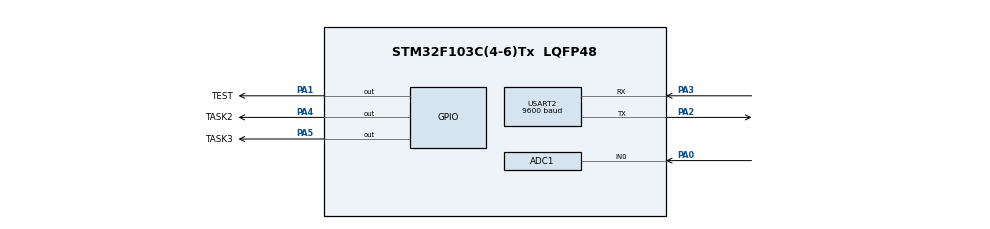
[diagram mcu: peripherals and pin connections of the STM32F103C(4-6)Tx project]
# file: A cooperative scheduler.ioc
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ADC1.Channel-0\#ChannelRegularConversion=ADC_CHANNEL_0
ADC1.ContinuousConvMode=ENABLE
ADC1.NbrOfConversionFlag=1
ADC1.Rank-0\#ChannelRegularConversion=1
ADC1.SamplingTime-0\#ChannelRegularConversion=ADC_SAMPLETIME_1CYCLE_5
ADC1.master=1
Mcu.Family=STM32F1
Mcu.Name=STM32F103C(4-6)Tx
Mcu.Package=LQFP48
NVIC.PriorityGroup=NVIC_PRIORITYGROUP_4
NVIC.TIM2_IRQn=true\:0\:0\:false\:false\:true\:true\:true
NVIC.USART2_IRQn=true\:0\:0\:false\:false\:true\:true\:true
PA0-WKUP.Signal=ADCx_IN0
PA1.GPIO_Label=TEST
PA1.Signal=GPIO_Output
PA2.Mode=Asynchronous
PA2.Signal=USART2_TX
PA3.Mode=Asynchronous
PA3.Signal=USART2_RX
PA4.GPIO_Label=TASK2
PA4.Signal=GPIO_Output
PA5.GPIO_Label=TASK3
PA5.Signal=GPIO_Output
ProjectManager.HeapSize=0x200
ProjectManager.StackSize=0x400
ProjectManager.TargetToolchain=STM32CubeIDE
RCC.APB1Freq_Value=8000000
RCC.APB2Freq_Value=8000000
SH.ADCx_IN0.0=ADC1_IN0,IN0
TIM2.Period=9
TIM2.Prescaler=7999
USART2.BaudRate=9600
USART2.VirtualMode=VM_ASYNC
VP_SYS_VS_ND.Mode=No_Debug
VP_TIM2_VS_ClockSourceINT.Mode=Internal
board=custom

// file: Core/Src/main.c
/* USER CODE BEGIN Header */
/**
  ******************************************************************************
  * @file           : main.c
  * @brief          : Main program body
  ******************************************************************************
  * @attention
  *
  * <h2><center>&copy; Copyright (c) 2023 STMicroelectronics.
  * All rights reserved.</center></h2>
  *
  * This software component is licensed by ST under BSD 3-Clause license,
  * the "License"; You may not use this file except in compliance with the
  * License. You may obtain a copy of the License at:
  *                        opensource.org/licenses/BSD-3-Clause
  *
  ******************************************************************************
  */
/* USER CODE END Header */
#include "main.h"

/* USER CODE BEGIN Includes */
#include "scheduler.h"
#include "task.h"
#include "fsm.h"
#include "software_timer.h"
/* USER CODE END Includes */

ADC_HandleTypeDef hadc1;

TIM_HandleTypeDef htim2;

UART_HandleTypeDef huart2;

void SystemClock_Config(void);
static void MX_TIM2_Init(void);
static void MX_GPIO_Init(void);
static void MX_ADC1_Init(void);
static void MX_USART2_UART_Init(void);

/* USER CODE BEGIN 0 */
uint32_t ADC_value = 0;
char str[32]; // Ensure you have a buffer large enough for the string representation of the ADC value
uint8_t temp = 0;
uint8_t buffer[MAX_BUFFER_SIZE];
uint8_t index_buffer = 0;
uint8_t buffer_flag = 0;
void HAL_UART_RxCpltCallback(UART_HandleTypeDef *huart){
    if(huart->Instance == USART2){
    	global_transmit(huart);
    }
}
/* USER CODE END 0 */

int main(void)
{

  /* MCU Configuration--------------------------------------------------------*/

  /* Reset of all peripherals, Initializes the Flash interface and the Systick. */
  HAL_Init();

  /* Configure the system clock */
  SystemClock_Config();

  /* USER CODE BEGIN SysInit */
  SCH_Init();
  /* USER CODE END SysInit */

  /* Initialize all configured peripherals */
  MX_TIM2_Init();
  MX_GPIO_Init();
  MX_ADC1_Init();
  MX_USART2_UART_Init();
  /* USER CODE BEGIN 2 */
  HAL_TIM_Base_Start_IT(&htim2);
  set_TIMER_CYCLE();
  setTimer(1, 100);
  HAL_UART_Receive_IT(&huart2, &temp, 1);

  /* USER CODE END 2 */

  /* Infinite loop */
  /* USER CODE BEGIN WHILE */
  SCH_Add_Task(task1, 0, 50);
  SCH_Add_Task(task2, 25, 50);
  SCH_Add_Task(task3, 50, 50);
  SCH_Add_Task(task4, 0, 300);
  SCH_Add_Task(task5, 0, 10);
  while (1)
  {
    /* USER CODE END WHILE */

    /* USER CODE BEGIN 3 */

	  SCH_Dispatch_Tasks();

  }
  /* USER CODE END 3 */
}

void SystemClock_Config(void)
{
  RCC_OscInitTypeDef RCC_OscInitStruct = {0};
  RCC_ClkInitTypeDef RCC_ClkInitStruct = {0};
  RCC_PeriphCLKInitTypeDef PeriphClkInit = {0};

  /** Initializes the RCC Oscillators according to the specified parameters
  * in the RCC_OscInitTypeDef structure.
  */
  RCC_OscInitStruct.OscillatorType = RCC_OSCILLATORTYPE_HSI;
  RCC_OscInitStruct.HSIState = RCC_HSI_ON;
  RCC_OscInitStruct.HSICalibrationValue = RCC_HSICALIBRATION_DEFAULT;
  RCC_OscInitStruct.PLL.PLLState = RCC_PLL_NONE;
  if (HAL_RCC_OscConfig(&RCC_OscInitStruct) != HAL_OK)
  {
    Error_Handler();
  }
  /** Initializes the CPU, AHB and APB buses clocks
  */
  RCC_ClkInitStruct.ClockType = RCC_CLOCKTYPE_HCLK|RCC_CLOCKTYPE_SYSCLK
                              |RCC_CLOCKTYPE_PCLK1|RCC_CLOCKTYPE_PCLK2;
  RCC_ClkInitStruct.SYSCLKSource = RCC_SYSCLKSOURCE_HSI;
  RCC_ClkInitStruct.AHBCLKDivider = RCC_SYSCLK_DIV1;
  RCC_ClkInitStruct.APB1CLKDivider = RCC_HCLK_DIV1;
  RCC_ClkInitStruct.APB2CLKDivider = RCC_HCLK_DIV1;

  if (HAL_RCC_ClockConfig(&RCC_ClkInitStruct, FLASH_LATENCY_0) != HAL_OK)
  {
    Error_Handler();
  }
  PeriphClkInit.PeriphClockSelection = RCC_PERIPHCLK_ADC;
  PeriphClkInit.AdcClockSelection = RCC_ADCPCLK2_DIV2;
  if (HAL_RCCEx_PeriphCLKConfig(&PeriphClkInit) != HAL_OK)
  {
    Error_Handler();
  }
}

static void MX_ADC1_Init(void)
{

  ADC_ChannelConfTypeDef sConfig = {0};

  /** Common config
  */
  hadc1.Instance = ADC1;
  hadc1.Init.ScanConvMode = ADC_SCAN_DISABLE;
  hadc1.Init.ContinuousConvMode = ENABLE;
  hadc1.Init.DiscontinuousConvMode = DISABLE;
  hadc1.Init.ExternalTrigConv = ADC_SOFTWARE_START;
  hadc1.Init.DataAlign = ADC_DATAALIGN_RIGHT;
  hadc1.Init.NbrOfConversion = 1;
  if (HAL_ADC_Init(&hadc1) != HAL_OK)
  {
    Error_Handler();
  }
  /** Configure Regular Channel
  */
  sConfig.Channel = ADC_CHANNEL_0;
  sConfig.Rank = ADC_REGULAR_RANK_1;
  sConfig.SamplingTime = ADC_SAMPLETIME_1CYCLE_5;
  if (HAL_ADC_ConfigChannel(&hadc1, &sConfig) != HAL_OK)
  {
    Error_Handler();
  }

}

static void MX_TIM2_Init(void)
{

  TIM_ClockConfigTypeDef sClockSourceConfig = {0};
  TIM_MasterConfigTypeDef sMasterConfig = {0};

  htim2.Instance = TIM2;
  htim2.Init.Prescaler = 7999;
  htim2.Init.CounterMode = TIM_COUNTERMODE_UP;
  htim2.Init.Period = 9;
  htim2.Init.ClockDivision = TIM_CLOCKDIVISION_DIV1;
  htim2.Init.AutoReloadPreload = TIM_AUTORELOAD_PRELOAD_DISABLE;
  if (HAL_TIM_Base_Init(&htim2) != HAL_OK)
  {
    Error_Handler();
  }
  sClockSourceConfig.ClockSource = TIM_CLOCKSOURCE_INTERNAL;
  if (HAL_TIM_ConfigClockSource(&htim2, &sClockSourceConfig) != HAL_OK)
  {
    Error_Handler();
  }
  sMasterConfig.MasterOutputTrigger = TIM_TRGO_RESET;
  sMasterConfig.MasterSlaveMode = TIM_MASTERSLAVEMODE_DISABLE;
  if (HAL_TIMEx_MasterConfigSynchronization(&htim2, &sMasterConfig) != HAL_OK)
  {
    Error_Handler();
  }

}

static void MX_USART2_UART_Init(void)
{

  huart2.Instance = USART2;
  huart2.Init.BaudRate = 9600;
  huart2.Init.WordLength = UART_WORDLENGTH_8B;
  huart2.Init.StopBits = UART_STOPBITS_1;
  huart2.Init.Parity = UART_PARITY_NONE;
  huart2.Init.Mode = UART_MODE_TX_RX;
  huart2.Init.HwFlowCtl = UART_HWCONTROL_NONE;
  huart2.Init.OverSampling = UART_OVERSAMPLING_16;
  if (HAL_UART_Init(&huart2) != HAL_OK)
  {
    Error_Handler();
  }

}

static void MX_GPIO_Init(void)
{
  GPIO_InitTypeDef GPIO_InitStruct = {0};

  /* GPIO Ports Clock Enable */
  __HAL_RCC_GPIOA_CLK_ENABLE();

  /*Configure GPIO pin Output Level */
  HAL_GPIO_WritePin(GPIOA, TEST_Pin|TASK2_Pin|TASK3_Pin, GPIO_PIN_RESET);

  /*Configure GPIO pins : TEST_Pin TASK2_Pin TASK3_Pin */
  GPIO_InitStruct.Pin = TEST_Pin|TASK2_Pin|TASK3_Pin;
  GPIO_InitStruct.Mode = GPIO_MODE_OUTPUT_PP;
  GPIO_InitStruct.Pull = GPIO_NOPULL;
  GPIO_InitStruct.Speed = GPIO_SPEED_FREQ_LOW;
  HAL_GPIO_Init(GPIOA, &GPIO_InitStruct);

}

/* USER CODE BEGIN 4 */
void HAL_TIM_PeriodElapsedCallback(TIM_HandleTypeDef *htim2){
	//timer_run();
	SCH_Update();
}
/* USER CODE END 4 */

void Error_Handler(void)
{
  __disable_irq();
  while (1)
  {
  }
}

/************************ (C) COPYRIGHT STMicroelectronics *****END OF FILE****/
